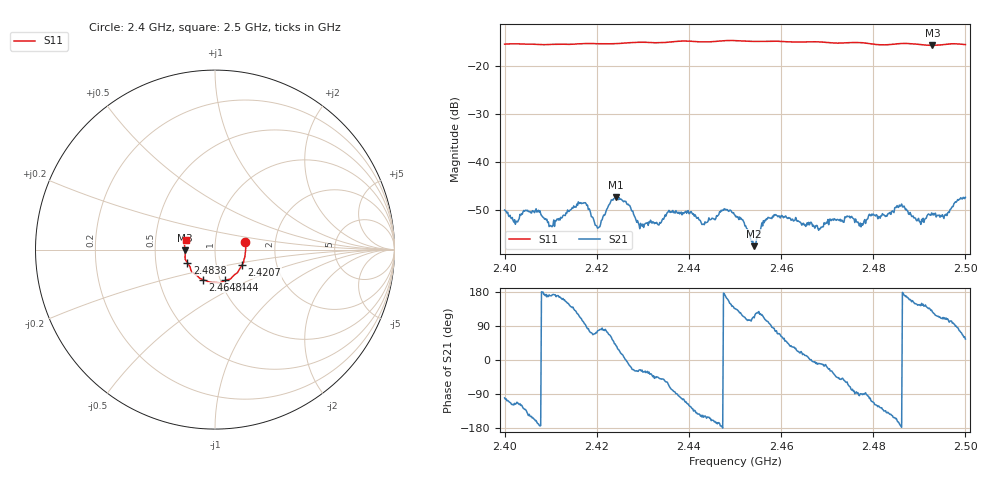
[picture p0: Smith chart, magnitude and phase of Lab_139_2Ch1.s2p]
# Hz S RI R 50
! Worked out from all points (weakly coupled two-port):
!   601 points, 2.4 GHz to 2.5 GHz, reference 50 ohm
!   highest |S21| = -47.41 dB at 2.4242 GHz (marker M1); lowest = -57.7 dB at 2.4542 GHz (marker M2)
!   lowest |S11| = -15.6 dB at 2.4928 GHz (marker M3), VSWR 1.40, Z = 35.7 - j0.317 ohm
!   |S11| at or under -10 dB: start of sweep to end of sweep
!   S12 and S22 are empty: the file has one direction only
!   S11 on the Smith chart (normalised r, x): 2.4 GHz: 1.39, +0.12; 2.4207 GHz: 1.33, -0.24; 2.444 GHz: 1.05, -0.37; 2.4648 GHz: 0.83, -0.29; 2.4838 GHz: 0.73, -0.11; 2.5 GHz: 0.72, +0.08
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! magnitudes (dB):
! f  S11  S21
! 2.4 GHz  -15.3  -50.1
! 2.4023 GHz  -15.2  -53.1
! 2.4072 GHz  -15.4  -50.4
! 2.41 GHz  -15.4  -53.3
! 2.4167 GHz  -15.2  -48.7
! 2.4207 GHz  -15.2  -53.6
! 2.4242 GHz  -15.2  -47.4
! 2.4297 GHz  -14.9  -53.2
! 2.4333 GHz  -15.0  -53.2
! 2.436 GHz  -14.9  -50.6
! 2.444 GHz  -14.8  -52.6
! 2.4475 GHz  -14.6  -50.1
! 2.45 GHz  -14.6  -51.2
! 2.4542 GHz  -14.7  -57.7
! 2.4563 GHz  -14.7  -52.7
! 2.4587 GHz  -14.7  -51.1
! 2.4648 GHz  -14.9  -52.8
! 2.4667 GHz  -14.8  -52.9
! 2.4833 GHz  -15.4  -50.8
! 2.4838 GHz  -15.4  -51.0
! 2.4928 GHz  -15.6  -51.1
! 2.5 GHz  -15.4  -47.4
